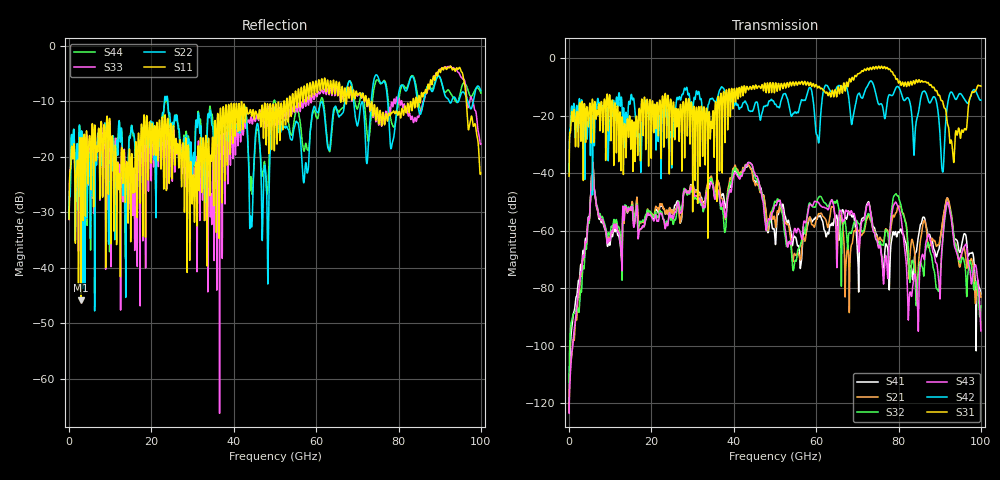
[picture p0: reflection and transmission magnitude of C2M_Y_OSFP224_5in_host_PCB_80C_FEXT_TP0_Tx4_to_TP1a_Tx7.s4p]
# GHz S RI R 45
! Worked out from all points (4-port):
!   4000 points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, 25 MHz to 100 GHz, reference 45 ohm
!   strongest paths, dB at 25 MHz, 25.02 GHz, 50.02 GHz, 75.03 GHz, 100 GHz:
!     S31: -41.1, -33.3, -9.8, -3.2, -9.8
!     S42: -39.6, -28.1, -16.1, -15.6, -14.6
!     S43: -123.5, -54.7, -51.2, -65.4, -94.9
!     S32: -112.8, -55.5, -49.8, -65.0, -86.1
!     S21: -123.0, -52.8, -57.3, -63.3, -83.1
!     S41: -123.1, -52.7, -63.7, -63.7, -82.0
!   lowest |S11| = -45.9 dB at 2.9 GHz (marker M1), VSWR 1.01, Z = 44.5 - j0.0113 ohm
!   |S11| at or under -10 dB: start of sweep to 52.18 GHz; 73.45 GHz to 83.48 GHz (10.03 GHz wide, 12.8 % of centre); 96.46 GHz to end of sweep (the widest 3 of 19)
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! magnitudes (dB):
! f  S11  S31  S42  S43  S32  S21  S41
! 25 MHz  -31.2  -41.1  -39.6  -123.5  -112.8  -123.0  -123.1
! 2.9 GHz  -45.9  -28.9  -18.2  -74.1  -80.7  -74.9  -71.7
! 5.775 GHz  -15.4  -15.4  -27.7  -37.2  -37.4  -37.5  -37.3
! 43.75 GHz  -12.2  -10.5  -18.3  -36.4  -36.2  -37.4  -37.7
! 54.65 GHz  -11.8  -9.4  -19.1  -59.8  -72.5  -68.1  -61.9
! 79.47 GHz  -11.7  -7.4  -10.1  -50.5  -47.3  -53.7  -61.8
! 100 GHz  -22.9  -9.8  -14.6  -94.9  -86.1  -83.1  -82.0
